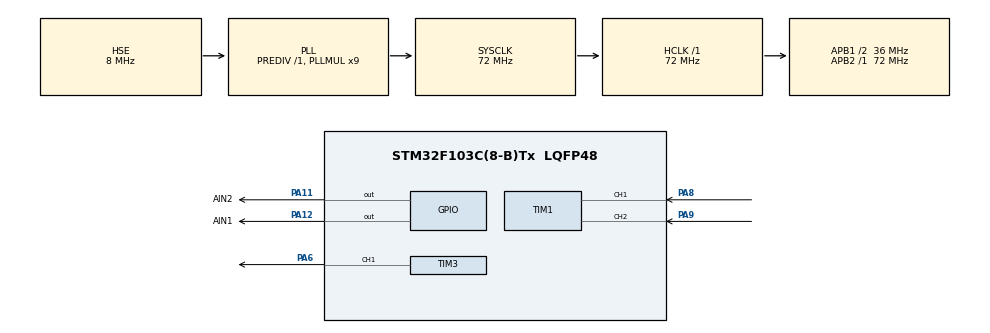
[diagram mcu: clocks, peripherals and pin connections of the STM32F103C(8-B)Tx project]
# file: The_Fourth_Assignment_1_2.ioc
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Mcu.Family=STM32F1
Mcu.Name=STM32F103C(8-B)Tx
Mcu.Package=LQFP48
NVIC.PriorityGroup=NVIC_PRIORITYGROUP_4
NVIC.TIM2_IRQn=true\:0\:0\:false\:false\:true\:true\:true\:true
PA11.GPIO_Label=AIN2
PA11.Signal=GPIO_Output
PA12.GPIO_Label=AIN1
PA12.Signal=GPIO_Output
PA13.Mode=Serial_Wire
PA13.Signal=SYS_JTMS-SWDIO
PA14.Mode=Serial_Wire
PA14.Signal=SYS_JTCK-SWCLK
PA6.Signal=S_TIM3_CH1
PA8.Signal=S_TIM1_CH1
PA9.Signal=S_TIM1_CH2
PD0-OSC_IN.Mode=HSE-External-Oscillator
PD0-OSC_IN.Signal=RCC_OSC_IN
PD1-OSC_OUT.Mode=HSE-External-Oscillator
PD1-OSC_OUT.Signal=RCC_OSC_OUT
ProjectManager.HeapSize=0x200
ProjectManager.StackSize=0x400
ProjectManager.TargetToolchain=Makefile
RCC.AHBFreq_Value=72000000
RCC.APB1CLKDivider=RCC_HCLK_DIV2
RCC.APB1Freq_Value=36000000
RCC.APB1TimFreq_Value=72000000
RCC.APB2Freq_Value=72000000
RCC.APB2TimFreq_Value=72000000
RCC.HCLKFreq_Value=72000000
RCC.PLLMUL=RCC_PLL_MUL9
RCC.PLLSourceVirtual=RCC_PLLSOURCE_HSE
RCC.SYSCLKFreq_VALUE=72000000
RCC.SYSCLKSource=RCC_SYSCLKSOURCE_PLLCLK
RCC.USBFreq_Value=72000000
SH.S_TIM1_CH1.0=TIM1_CH1,Encoder_Interface
SH.S_TIM1_CH2.0=TIM1_CH2,Encoder_Interface
SH.S_TIM3_CH1.0=TIM3_CH1,PWM Generation1 CH1
TIM2.Period=999
TIM2.Prescaler=719
TIM3.Channel-PWM\ Generation1\ CH1=TIM_CHANNEL_1
TIM3.Period=999
TIM3.Prescaler=71
VP_TIM2_VS_ClockSourceINT.Mode=Internal
VP_TIM3_VS_ClockSourceINT.Mode=Internal
board=custom

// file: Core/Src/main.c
/* USER CODE BEGIN Header */
/**
  ******************************************************************************
  * @file           : main.c
  * @brief          : Main program body
  ******************************************************************************
  * @attention
  *
  * Copyright (c) 2026 STMicroelectronics.
  * All rights reserved.
  *
  * This software is licensed under terms that can be found in the LICENSE file
  * in the root directory of this software component.
  * If no LICENSE file comes with this software, it is provided AS-IS.
  *
  ******************************************************************************
  */
/* USER CODE END Header */
#include "main.h"
#include "tim.h"
#include "gpio.h"

/* USER CODE BEGIN Includes */
#include "pid.h"
#include "delta.h"
/* USER CODE END Includes */

/* USER CODE BEGIN PV */
volatile PID_t speed_pid = {
    .Kp = 1.0f,
    .Ki = 0.5f,
    .Kd = 0.1f,
    .previous_error = 0.0f,
    .integral = 0.0f,
    .output_max = 999.0f,
    .output_min = -999.0f
};
volatile PID_t position_pid = {
    .Kp = 1.0f,
    .Ki = 0.5f,
    .Kd = 0.1f,
    .previous_error = 0.0f,
    .integral = 0.0f,
    .output_max = 999.0f,
    .output_min = -999.0f
};  //这两个pid的Kp, Ki, Kd值需要根据实际情况来调，这里只是假设
volatile uint16_t previous_count = 0;
volatile uint16_t current_count = 0;
volatile int32_t delta_count = 0;
volatile int32_t total_count = 0;
int32_t target_position = 13 * 30 * 2 * 2; //两圈
volatile float current_speed = 0.0f; //单位为CNT/s
volatile float target_CCR = 0.0f; //目标占空比
float dt = 0.01f; //定时器中断周期，单位为秒

/* USER CODE END PV */

void SystemClock_Config(void);

int main(void)
{

  /* MCU Configuration--------------------------------------------------------*/

  /* Reset of all peripherals, Initializes the Flash interface and the Systick. */
  HAL_Init();

  /* Configure the system clock */
  SystemClock_Config();

  /* Initialize all configured peripherals */
  MX_GPIO_Init();
  MX_TIM1_Init();
  MX_TIM2_Init();
  MX_TIM3_Init();
  /* USER CODE BEGIN 2 */
  //初始化参数
  PID_Reset(&speed_pid);
  PID_Reset(&position_pid);

  __HAL_TIM_SET_COMPARE(&htim3, TIM_CHANNEL_1, 0); //设置初始占空比为0

  HAL_GPIO_WritePin(AIN1_GPIO_Port, AIN1_Pin, GPIO_PIN_RESET);
  HAL_GPIO_WritePin(AIN2_GPIO_Port, AIN2_Pin, GPIO_PIN_SET);  //初始定义为顺时针

  //逐次启动TIM1——编码器采集，TIM3——PWM输出，TIM2——定时器中断
  __HAL_TIM_SET_COUNTER(&htim1, 0);
  HAL_TIM_Base_Start(&htim1);
  if(HAL_TIM_Encoder_Start(&htim1, TIM_CHANNEL_ALL) != HAL_OK)
  {
      Error_Handler();
  }

  HAL_TIM_Base_Start(&htim3);
  if(HAL_TIM_PWM_Start(&htim3, TIM_CHANNEL_1) != HAL_OK)
  {
      Error_Handler();
  }

  __HAL_TIM_SET_COUNTER(&htim2, 0);
  __HAL_TIM_CLEAR_FLAG(&htim2, TIM_FLAG_UPDATE);
  if(HAL_TIM_Base_Start_IT(&htim2) != HAL_OK)
  {
      Error_Handler();
  }
  /* USER CODE END 2 */

  /* Infinite loop */
  while (1)
  {

  }
}

void SystemClock_Config(void)
{
  RCC_OscInitTypeDef RCC_OscInitStruct = {0};
  RCC_ClkInitTypeDef RCC_ClkInitStruct = {0};

  /** Initializes the RCC Oscillators according to the specified parameters
  * in the RCC_OscInitTypeDef structure.
  */
  RCC_OscInitStruct.OscillatorType = RCC_OSCILLATORTYPE_HSE;
  RCC_OscInitStruct.HSEState = RCC_HSE_ON;
  RCC_OscInitStruct.HSEPredivValue = RCC_HSE_PREDIV_DIV1;
  RCC_OscInitStruct.HSIState = RCC_HSI_ON;
  RCC_OscInitStruct.PLL.PLLState = RCC_PLL_ON;
  RCC_OscInitStruct.PLL.PLLSource = RCC_PLLSOURCE_HSE;
  RCC_OscInitStruct.PLL.PLLMUL = RCC_PLL_MUL9;
  if (HAL_RCC_OscConfig(&RCC_OscInitStruct) != HAL_OK)
  {
    Error_Handler();
  }

  /** Initializes the CPU, AHB and APB buses clocks
  */
  RCC_ClkInitStruct.ClockType = RCC_CLOCKTYPE_HCLK|RCC_CLOCKTYPE_SYSCLK
                              |RCC_CLOCKTYPE_PCLK1|RCC_CLOCKTYPE_PCLK2;
  RCC_ClkInitStruct.SYSCLKSource = RCC_SYSCLKSOURCE_PLLCLK;
  RCC_ClkInitStruct.AHBCLKDivider = RCC_SYSCLK_DIV1;
  RCC_ClkInitStruct.APB1CLKDivider = RCC_HCLK_DIV2;
  RCC_ClkInitStruct.APB2CLKDivider = RCC_HCLK_DIV1;

  if (HAL_RCC_ClockConfig(&RCC_ClkInitStruct, FLASH_LATENCY_2) != HAL_OK)
  {
    Error_Handler();
  }
}

/* USER CODE BEGIN 4 */
void HAL_TIM_PeriodElapsedCallback(TIM_HandleTypeDef *htim)
{
    if (htim->Instance == TIM2) //检查是否是TIM2的中断
    {
      //读取编码器计数，并进行基本计算
      current_count = __HAL_TIM_GET_COUNTER(&htim1);
      delta_count = Encoder_Delta(current_count, previous_count);
      total_count += delta_count;
      previous_count = current_count;

      current_speed = (float)delta_count / dt;

      //进行PID双环串联
      float needed_speed = PID_Update(&position_pid, (float)target_position, (float)total_count, dt);
      target_CCR = PID_Update(&speed_pid, needed_speed, current_speed, dt);

      //判断方向，写入CCR寄存器
      if(target_CCR >= 0)
      {
          HAL_GPIO_WritePin(AIN1_GPIO_Port, AIN1_Pin, GPIO_PIN_RESET);
          HAL_GPIO_WritePin(AIN2_GPIO_Port, AIN2_Pin, GPIO_PIN_SET);
          int32_t ccr_value = (int32_t)target_CCR;
          __HAL_TIM_SET_COMPARE(&htim3, TIM_CHANNEL_1, ccr_value);
      }
      else
      {
          HAL_GPIO_WritePin(AIN1_GPIO_Port, AIN1_Pin, GPIO_PIN_SET);
          HAL_GPIO_WritePin(AIN2_GPIO_Port, AIN2_Pin, GPIO_PIN_RESET);
          int32_t ccr_value = (int32_t)(-target_CCR);
          __HAL_TIM_SET_COMPARE(&htim3, TIM_CHANNEL_1, ccr_value);
      }
    }
}
/* USER CODE END 4 */

void Error_Handler(void)
{
  __disable_irq();
  while (1)
  {
  }
}
